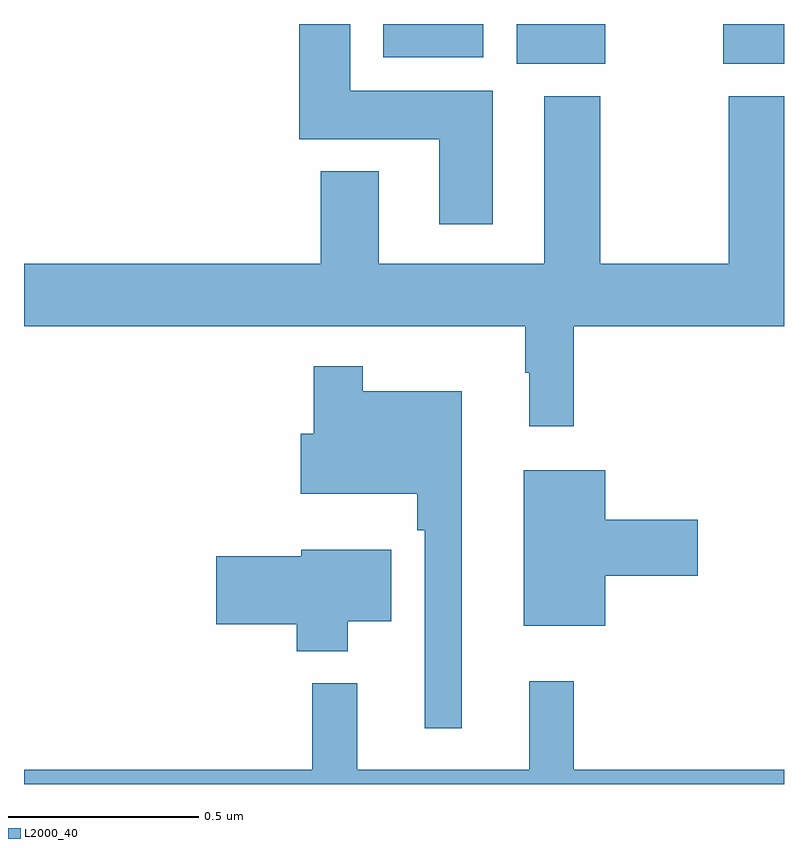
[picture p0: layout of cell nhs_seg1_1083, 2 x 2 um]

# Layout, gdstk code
import gdstk
lib = gdstk.Library(unit=1e-6, precision=1e-09)
def R(c, l, rs):  # rectangles x0, y0, x1, y1
    for r in rs: c.add(gdstk.rectangle(r[:2], r[2:], *l))
def P(c, l, *ps):  # polygons
    for p in ps: c.add(gdstk.Polygon(p, *l))
L2000_40 = (2000, 40)

nhs_seg1_1083 = lib.new_cell('nhs_seg1_1083')
R(nhs_seg1_1083, L2000_40, [(125.297,547.094,125.53,547.199), (125.84,547.094,126,547.199), (124.946,547.112,125.209,547.199)])
P(nhs_seg1_1083, L2000_40, [(125.233,547.024),(124.858,547.024),(124.858,547.199),(124.724,547.199),(124.724,546.896),(125.093,546.896),(125.093,546.672),(125.233,546.672)],
  [(125.447,546.404),(126,546.404),(126,547.009),(125.854,547.009),(125.854,546.568),(125.517,546.568),(125.517,547.009),(125.369,547.009),(125.369,546.568),(124.933,546.568),(124.933,546.811),(124.781,546.811),(124.781,546.568),(124,546.568),(124,546.404),(125.319,546.404),(125.319,546.281),(125.33,546.281),(125.33,546.141),(125.447,546.141)],
  [(125.152,546.232),(124.891,546.232),(124.891,546.298),(124.762,546.298),(124.762,546.121),(124.728,546.121),(124.728,545.963),(125.035,545.963),(125.035,545.867),(125.055,545.867),(125.055,545.346),(125.152,545.346)],
  [(125.53,545.747),(125.773,545.747),(125.773,545.894),(125.53,545.894),(125.53,546.025),(125.315,546.025),(125.315,545.615),(125.53,545.615)],
  [(124.852,545.627),(124.966,545.627),(124.966,545.815),(124.73,545.815),(124.73,545.798),(124.506,545.798),(124.506,545.62),(124.718,545.62),(124.718,545.549),(124.852,545.549)],
  [(126,545.236),(125.447,545.236),(125.447,545.47),(125.33,545.47),(125.33,545.236),(124.877,545.236),(124.877,545.464),(124.759,545.464),(124.759,545.236),(124,545.236),(124,545.199),(126,545.199)])

lib.write_gds('nhs_seg1_1083.gds')
